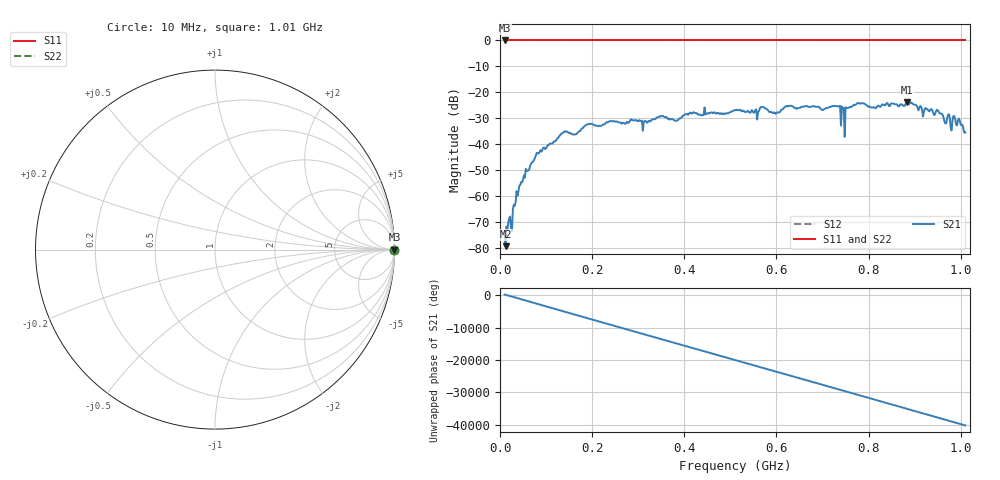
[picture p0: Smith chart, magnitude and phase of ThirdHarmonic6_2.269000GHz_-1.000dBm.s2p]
! 8/17/2025 2:51:36 AM
! C:\ANRITSUVNA\TEMP\TEMP.S2P
! CHANNEL.1
! TR.MEASUREMENT
! RAW.DATA
! RF.CORRECTION.OFF
! AVERAGING.OFF
! IF.BANDWIDTH: 5KHZ
! SWEEPTYPE:  FREQ.SWEEP(Linear)
! Reference Plane Port Info
! PORT:  PORT1  PORT2
! DISTANCE:  0  m  0  m
! TIME:  0  s  0  s
! PHASE.OFFSET:  0  deg.  0  deg.
! LOSS:  0  dB  0  dB
! REF.LOSS:  0  dB  0  dB
! REF.FREQ:  0  Hz  0  Hz
! Power Info
! POWER:  -20  dBm  -20  dBm
! EFF.POWER:  -20  dBm  -20  dBm
! SOURCE.ATTEN:  0  dB  0  dB
! TEST.ATTEN:  0  dB  0  dB
# GHZ S RI R 50.0
! FREQ.GHZ  S11RE  S11IM  S21RE  S21IM  S12RE  S12IM  S22RE  S22IM
!; PortSelection: Port_12
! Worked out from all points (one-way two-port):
!   501 points, 10 MHz to 1.01 GHz, reference 50 ohm
!   highest |S21| = -23.88 dB at 884 MHz (marker M1); lowest = -79.4 dB at 12 MHz (marker M2)
!   lowest |S11| = 0.0 dB at 10 MHz (marker M3)
!   |S11| at or under -10 dB: nowhere
!   |S22| runs from 0.0 to 0.0 dB; largest |S21 - S12| = 1.1
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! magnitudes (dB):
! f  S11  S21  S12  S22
! 10 MHz  0.0  -73.5  0.0  0.0
! 12 MHz  0.0  -79.4  0.0  0.0
! 28 MHz  0.0  -65.0  0.0  0.0
! 40 MHz  0.0  -58.3  0.0  0.0
! 80 MHz  0.0  -43.3  0.0  0.0
! 136 MHz  0.0  -35.7  0.0  0.0
! 178 MHz  0.0  -33.9  0.0  0.0
! 344 MHz  0.0  -29.6  0.0  0.0
! 382 MHz  0.0  -31.0  0.0  0.0
! 416 MHz  0.0  -28.3  0.0  0.0
! 510 MHz  0.0  -26.9  0.0  0.0
! 570 MHz  0.0  -25.7  0.0  0.0
! 596 MHz  0.0  -27.9  0.0  0.0
! 678 MHz  0.0  -25.4  0.0  0.0
! 734 MHz  0.0  -25.5  0.0  0.0
! 744 MHz  0.0  -26.1  0.0  0.0
! 754 MHz  0.0  -26.0  0.0  0.0
! 776 MHz  0.0  -24.2  0.0  0.0
! 844 MHz  0.0  -25.2  0.0  0.0
! 884 MHz  0.0  -23.9  0.0  0.0
! 998 MHz  0.0  -31.1  0.0  0.0
! 1.01 GHz  0.0  -35.5  0.0  0.0
